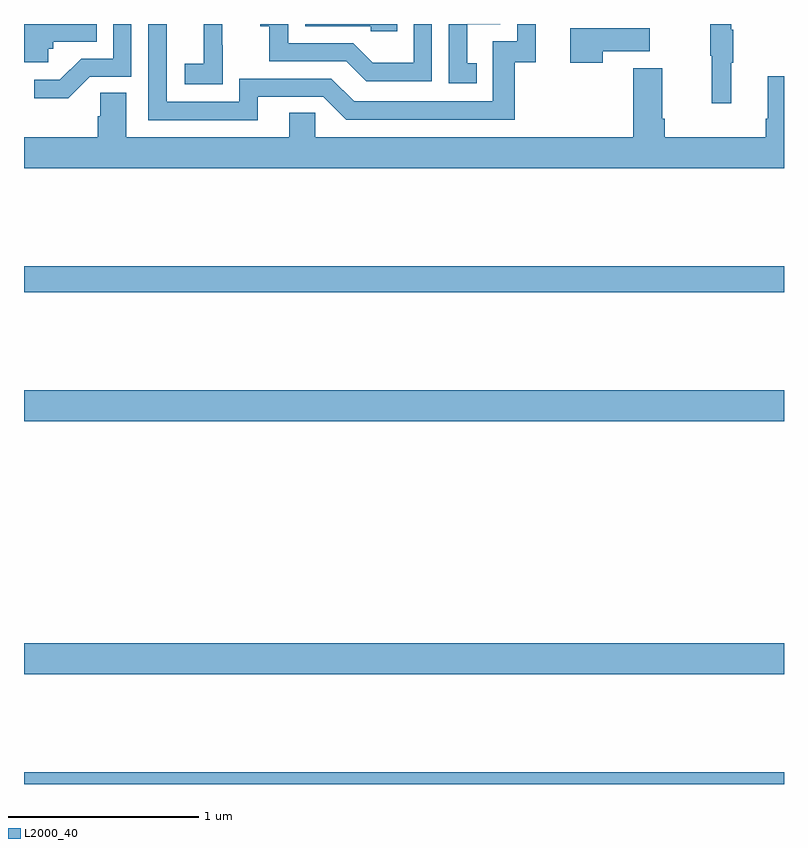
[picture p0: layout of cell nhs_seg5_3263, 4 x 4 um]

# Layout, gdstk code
import gdstk
lib = gdstk.Library(unit=1e-6, precision=1e-09)
def R(c, l, rs):  # rectangles x0, y0, x1, y1
    for r in rs: c.add(gdstk.rectangle(r[:2], r[2:], *l))
def P(c, l, *ps):  # polygons
    for p in ps: c.add(gdstk.Polygon(p, *l))
L2000_40 = (2000, 40)

nhs_seg5_3263 = lib.new_cell('nhs_seg5_3263')
R(nhs_seg5_3263, L2000_40, [(299,906.799,303,906.86), (299,907.376,303,907.54), (299,908.708,303,908.872), (299,909.388,303,909.524)])
P(nhs_seg5_3263, L2000_40, [(299.127,910.668),(299.154,910.668),(299.154,910.706),(299.384,910.706),(299.384,910.799),(299,910.799),(299,910.598),(299.127,910.598)],
  [(301.146,910.799),(301.05,910.799),(301.05,910.594),(300.836,910.594),(300.732,910.698),(300.39,910.698),(300.39,910.799),(300.243,910.799),(300.243,910.787),(300.292,910.787),(300.292,910.602),(300.695,910.602),(300.8,910.497),(301.146,910.497)],
  [(299.346,910.521),(299.565,910.521),(299.565,910.799),(299.469,910.799),(299.469,910.617),(299.3,910.617),(299.189,910.506),(299.055,910.506),(299.055,910.409),(299.233,910.409)],
  [(300.965,910.799),(300.48,910.799),(300.48,910.788),(300.825,910.788),(300.825,910.761),(300.965,910.761)],
  [(300.045,910.687),(300.044,910.687),(300.044,910.799),(299.945,910.799),(299.945,910.591),(299.847,910.591),(299.847,910.481),(300.045,910.481)],
  [(301.382,910.593),(301.333,910.593),(301.333,910.797),(301.506,910.797),(301.506,910.799),(301.236,910.799),(301.236,910.488),(301.382,910.488)],
  [(300.229,910.416),(300.576,910.416),(300.696,910.296),(301.583,910.296),(301.583,910.599),(301.694,910.599),(301.694,910.799),(301.596,910.799),(301.596,910.707),(301.467,910.707),(301.467,910.392),(300.738,910.392),(300.618,910.512),(300.132,910.512),(300.132,910.389),(299.751,910.389),(299.751,910.799),(299.655,910.799),(299.655,910.293),(300.229,910.293)],
  [(302.723,910.595),(302.734,910.595),(302.734,910.769),(302.723,910.769),(302.723,910.799),(302.613,910.799),(302.613,910.632),(302.62,910.632),(302.62,910.383),(302.723,910.383)],
  [(302.045,910.655),(302.293,910.655),(302.293,910.777),(301.874,910.777),(301.874,910.596),(302.045,910.596)],
  [(303,910.525),(302.915,910.525),(302.915,910.3),(302.903,910.3),(302.903,910.204),(302.372,910.204),(302.372,910.3),(302.359,910.3),(302.359,910.567),(302.207,910.567),(302.207,910.204),(300.534,910.204),(300.534,910.331),(300.395,910.331),(300.395,910.204),(299.539,910.204),(299.539,910.436),(299.4,910.436),(299.4,910.313),(299.387,910.313),(299.387,910.204),(299,910.204),(299,910.04),(303,910.04)])

lib.write_gds('nhs_seg5_3263.gds')
